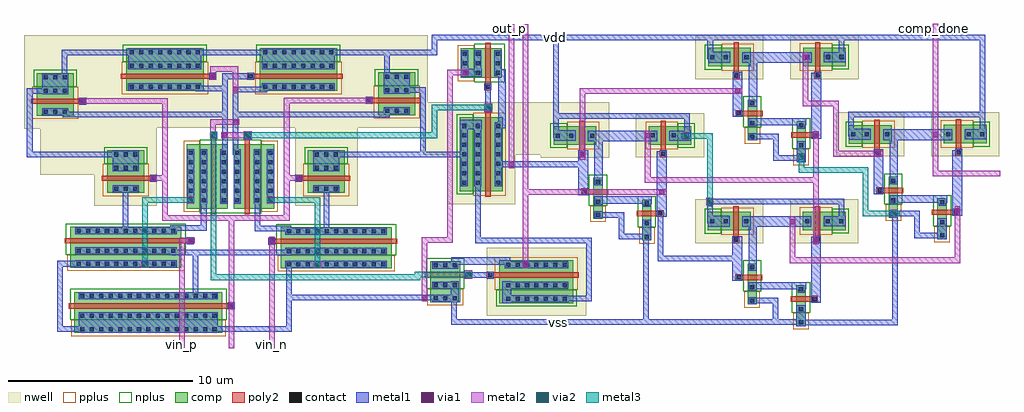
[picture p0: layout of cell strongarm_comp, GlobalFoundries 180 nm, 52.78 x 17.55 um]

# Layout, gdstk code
from math import pi, radians
import gdstk
lib = gdstk.Library(unit=1e-6, precision=5e-09)
def R(c, l, rs):  # rectangles x0, y0, x1, y1
    for r in rs: c.add(gdstk.rectangle(r[:2], r[2:], *l))
def A(c, l, x, y, w, h, nx, ny, dx, dy):  # array of equal rectangles
    R(c, l, [(x+i*dx, y+j*dy, x+i*dx+w, y+j*dy+h) for i in range(nx) for j in range(ny)])
def P(c, l, *ps):  # polygons
    for p in ps: c.add(gdstk.Polygon(p, *l))
nwell = (21, 0)
comp = (22, 0)
poly2 = (30, 0)
pplus = (31, 0)
nplus = (32, 0)
contact = (33, 0)
metal1 = (34, 0)
via1 = (35, 0)
metal2 = (36, 0)
via2 = (38, 0)
metal3 = (42, 0)

comp_pfet_1_1 = lib.new_cell('comp_pfet$1$1')
R(comp_pfet_1_1, nwell, [(-1.15,-0.69,2.54,1.69)])
R(comp_pfet_1_1, comp, [(-0.46,0,0,1), (0,0,0.66,1), (0.66,0,1.12,1), (1.12,0,1.85,1)])
R(comp_pfet_1_1, poly2, [(0.14,-0.68,0.52,-0.3), (0.19,-0.3,0.47,1.3)])
R(comp_pfet_1_1, pplus, [(-0.63,-0.24,1.12,1.24)])
R(comp_pfet_1_1, nplus, [(1.12,-0.17,2.02,1.17)])
R(comp_pfet_1_1, contact, [(0.22,-0.6,0.44,-0.38), (-0.34,0.39,-0.12,0.61), (0.78,0.39,1,0.61), (1.51,0.39,1.73,0.61)])
R(comp_pfet_1_1, metal1, [(0.14,-0.68,0.52,-0.3), (-0.42,0.31,-0.04,0.69), (0.7,0.31,1.08,0.69), (1.43,0.31,1.81,0.69)])

comp_nfet_3 = lib.new_cell('comp_nfet$3')
R(comp_nfet_3, comp, [(-0.42,0,0,0.5), (0,0,0.66,0.5), (0.66,0,1.08,0.5), (1.08,0,1.79,0.5)])
R(comp_nfet_3, poly2, [(0.19,-0.3,0.47,0.8), (0.15,0.8,0.51,1.16)])
R(comp_nfet_3, pplus, [(1.08,-0.17,1.96,0.67)])
R(comp_nfet_3, nplus, [(-0.59,-0.24,1.08,0.74)])
R(comp_nfet_3, contact, [(-0.32,0.14,-0.1,0.36), (0.76,0.14,0.98,0.36), (1.47,0.14,1.69,0.36), (0.22,0.87,0.44,1.09)])
R(comp_nfet_3, metal1, [(-0.4,0.06,-0.02,0.44), (0.68,0.06,1.06,0.44), (1.39,0.06,1.77,0.44), (0.14,0.79,0.52,1.17)])

comp_nfet_8 = lib.new_cell('comp_nfet$8')
R(comp_nfet_8, comp, [(-0.42,0,0,0.5), (0,0,0.66,0.5), (0.66,0,1.08,0.5), (1.08,0,1.79,0.5)])
R(comp_nfet_8, poly2, [(0.15,-0.66,0.51,-0.3), (0.19,-0.3,0.47,0.8)])
R(comp_nfet_8, pplus, [(1.08,-0.17,1.96,0.67)])
R(comp_nfet_8, nplus, [(-0.59,-0.24,1.08,0.74)])
R(comp_nfet_8, contact, [(0.22,-0.59,0.44,-0.37), (-0.32,0.14,-0.1,0.36), (0.76,0.14,0.98,0.36), (1.47,0.14,1.69,0.36)])
R(comp_nfet_8, metal1, [(0.14,-0.67,0.52,-0.29), (-0.4,0.06,-0.02,0.44), (0.68,0.06,1.06,0.44), (1.39,0.06,1.77,0.44)])

comp_pfet_5 = lib.new_cell('comp_pfet$5')
R(comp_pfet_5, nwell, [(-1.15,-0.69,2.54,1.69)])
R(comp_pfet_5, comp, [(-0.46,0,0,1), (0,0,0.66,1), (0.66,0,1.12,1), (1.12,0,1.85,1)])
R(comp_pfet_5, poly2, [(0.19,-0.3,0.47,1.3), (0.14,1.3,0.52,1.68)])
R(comp_pfet_5, pplus, [(-0.63,-0.24,1.12,1.24)])
R(comp_pfet_5, nplus, [(1.12,-0.17,2.02,1.17)])
R(comp_pfet_5, contact, [(-0.34,0.39,-0.12,0.61), (0.78,0.39,1,0.61), (1.51,0.39,1.73,0.61), (0.22,1.38,0.44,1.6)])
R(comp_pfet_5, metal1, [(-0.42,0.31,-0.04,0.69), (0.7,0.31,1.08,0.69), (1.43,0.31,1.81,0.69), (0.14,1.3,0.52,1.68)])

comp_async_nand2 = lib.new_cell('comp_async_nand2')
R(comp_async_nand2, metal1, [(1.32,-3.47,1.82,-2.34), (2.11,-2.2,2.65,1.35), (-1.26,-1.49,1.84,-1.09), (-2.14,-1.03,-1.61,1.4), (-1.26,-0.49,-0.82,2.39), (-1.62,1.89,2.13,2.47), (-3.47,1.91,-2.28,2.5), (2.79,1.92,3.98,2.47)])
comp_async_nand2.add(gdstk.FlexPath([(-3.35,2.09),(-3.35,3.26),(3.75,3.26),(3.75,2.1),(3.75,2.1)], 0.3, ends="flush", simple_path=True, layer=34, datatype=0))  # metal1
comp_async_nand2.add(gdstk.FlexPath([(-1.18,-2.09),(0.2,-2.09),(0.2,-3.26),(1.68,-3.26),(1.68,-3.26)], 0.3, ends="flush", simple_path=True, layer=34, datatype=0))  # metal1
comp_async_nand2.add(gdstk.Reference(comp_pfet_1_1, (2.13,1.71)))
comp_async_nand2.add(gdstk.Reference(comp_nfet_3, (1.32,-1.68), rotation=3*pi/2))
comp_async_nand2.add(gdstk.Reference(comp_nfet_8, (-1.32,-0.51), rotation=3*pi/2))
comp_async_nand2.add(gdstk.Reference(comp_pfet_5, (-1.62,2.7), rotation=pi))
comp_async_nand2.add(gdstk.Label('input_A', (-1.97,0.32), layer=34, texttype=10))
comp_async_nand2.add(gdstk.Label('input_B', (2.29,-0.01), layer=34, texttype=10))
comp_async_nand2.add(gdstk.Label('output', (0.09,2.13), layer=34, texttype=10))
comp_async_nand2.add(gdstk.Label('vdd', (0.02,3.26), layer=34, texttype=10))
comp_async_nand2.add(gdstk.Label('vss', (0.17,-2.92), layer=34, texttype=10))

comp_comp_nand_3v3 = lib.new_cell('comp_comp_nand_3v3')
comp_comp_nand_3v3.add(gdstk.Reference(comp_async_nand2, (0,0)))
comp_comp_nand_3v3.add(gdstk.Label('a', (-1.89,0.02), layer=34, texttype=10))
comp_comp_nand_3v3.add(gdstk.Label('b', (2.38,-0.425), layer=34, texttype=10))
comp_comp_nand_3v3.add(gdstk.Label('vss', (0.2,-2.35), layer=34, texttype=10))
comp_comp_nand_3v3.add(gdstk.Label('y', (0.68,2.21), layer=34, texttype=10))
comp_comp_nand_3v3.add(gdstk.Label('vdd', (0.51,3.26), layer=34, texttype=10))

comp_comp_xor_fast = lib.new_cell('comp_comp_xor_fast')
R(comp_comp_xor_fast, via1, [(0.92,0.03,1.18,0.29), (-0.36,1.03,-0.1,1.29), (5.16,1.47,5.42,1.73), (8.57,1.63,8.83,1.89), (-4.81,2.12,-4.55,2.38), (-7.43,2.64,-7.17,2.9), (0.14,4.54,0.4,4.8), (-11.71,4.66,-11.45,4.92), (4.3,4.71,4.56,4.97), (-6.11,5.67,-5.85,5.93), (-8.18,5.7,-7.92,5.96), (0.92,5.7,1.18,5.96), (7.38,5.73,7.64,5.99), (-3.31,8.11,-3.05,8.37), (0.37,9.91,0.63,10.17)])
R(comp_comp_xor_fast, metal2, [(5.08,1.41,5.47,1.8), (-4.89,2.06,-4.5,2.45), (0.06,4.48,0.45,4.87), (-6.19,5.61,-5.8,6)])
R(comp_comp_xor_fast, via2, [(5.16,1.47,5.42,1.73), (-4.81,2.12,-4.55,2.38), (0.14,4.54,0.4,4.8), (-6.11,5.67,-5.85,5.93)])
comp_comp_xor_fast.add(gdstk.FlexPath([(-7.37,1.79),(-7.37,-0.825),(-2.94,-0.825)], 0.3, ends="flush", simple_path=True, layer=34, datatype=0))  # metal1
comp_comp_xor_fast.add(gdstk.FlexPath([(-11.28,4.27),(-14.8,4.27)], 0.3, ends="flush", simple_path=True, layer=34, datatype=0))  # metal1
comp_comp_xor_fast.add(gdstk.FlexPath([(-13.02,6.71),(-13.02,11.12),(-4.4,11.12)], 0.3, ends="flush", simple_path=True, layer=34, datatype=0))  # metal1
comp_comp_xor_fast.add(gdstk.FlexPath([(10.05,6.95),(10.05,11.12),(2.28,11.12)], 0.3, ends="flush", simple_path=True, layer=34, datatype=0))  # metal1
comp_comp_xor_fast.add(gdstk.FlexPath([(-0.01,-4.28),(5.31,-4.28),(5.31,1.75)], 0.3, ends="flush", simple_path=True, layer=34, datatype=0))  # metal1
comp_comp_xor_fast.add(gdstk.FlexPath([(-0.95,-4.27),(-8.15,-4.27),(-8.15,0.51)], 0.3, ends="flush", simple_path=True, layer=34, datatype=0))  # metal1
comp_comp_xor_fast.add(gdstk.FlexPath([(-11.58,4.52),(-11.58,8.24),(-2.93,8.24),(-2.93,8.24),(-2.93,8.24)], 0.3, ends="flush", simple_path=True, layer=36, datatype=0))  # metal2
comp_comp_xor_fast.add(gdstk.FlexPath([(1.05,3.57),(1.05,-0.06)], 0.3, ends="flush", simple_path=True, layer=36, datatype=0))  # metal2
comp_comp_xor_fast.add(gdstk.FlexPath([(0.49,10.33),(0.49,7.56),(2.13,7.56),(2.13,4.84),(4.69,4.84)], 0.3, ends="flush", simple_path=True, layer=36, datatype=0))  # metal2
comp_comp_xor_fast.add(gdstk.FlexPath([(-0.23,1.46),(-0.23,-0.92),(8.7,-0.92),(8.7,2)], 0.3, ends="flush", simple_path=True, layer=36, datatype=0))  # metal2
comp_comp_xor_fast.add(gdstk.FlexPath([(-8.05,6.09),(-8.05,3.42),(1.05,3.42),(1.05,6.05)], 0.3, ends="flush", simple_path=True, layer=36, datatype=0))  # metal2
comp_comp_xor_fast.add(gdstk.FlexPath([(-7.02,2.78),(-14.81,2.78)], 0.3, ends="flush", simple_path=True, layer=36, datatype=0))  # metal2
comp_comp_xor_fast.add(gdstk.FlexPath([(7.51,6.16),(7.51,3.78),(11,3.78)], 0.3, ends="flush", simple_path=True, layer=36, datatype=0))  # metal2
comp_comp_xor_fast.add(gdstk.FlexPath([(-6.25,5.8),(-4.68,5.8),(-4.68,2.01)], 0.3, ends="flush", simple_path=True, layer=42, datatype=0))  # metal3
comp_comp_xor_fast.add(gdstk.FlexPath([(5.57,1.6),(3.73,1.6),(3.73,3.96),(0.27,3.96),(0.27,4.83),(0.27,4.87)], 0.3, ends="flush", simple_path=True, layer=42, datatype=0))  # metal3
comp_comp_xor_fast.add(gdstk.Reference(comp_comp_nand_3v3, (6.3,3.69)))
comp_comp_xor_fast.add(gdstk.Reference(comp_comp_nand_3v3, (-1.33,-1.01)))
comp_comp_xor_fast.add(gdstk.Reference(comp_comp_nand_3v3, (-9.67,3.62)))
comp_comp_xor_fast.add(gdstk.Reference(comp_comp_nand_3v3, (-1.32,7.86)))
comp_comp_xor_fast.add(gdstk.Label('vdd', (-0.45,11.12), layer=34, texttype=10))
comp_comp_xor_fast.add(gdstk.Label('a', (-14.61,4.23), layer=34, texttype=10))
comp_comp_xor_fast.add(gdstk.Label('vss', (-1.13,-4.27), layer=34, texttype=10))
comp_comp_xor_fast.add(gdstk.Label('b', (-14.61,2.72), layer=36, texttype=10))
comp_comp_xor_fast.add(gdstk.Label('y', (10.72,3.74), layer=36, texttype=10))

comp_nfet = lib.new_cell('comp_nfet')
R(comp_nfet, comp, [(-0.42,0,0,3.5), (0,0,0.66,3.5), (0.66,0,1.08,3.5), (1.08,0,1.79,3.5)])
R(comp_nfet, poly2, [(0.19,-0.3,0.47,3.8), (0.15,3.8,0.51,4.16)])
R(comp_nfet, pplus, [(1.08,-0.17,1.96,3.67)])
R(comp_nfet, nplus, [(-0.59,-0.24,1.08,3.74)])
A(comp_nfet, contact, -0.32, 0.365, 0.22, 0.22, 1, 6, 0, 0.51)
A(comp_nfet, contact, 0.76, 0.365, 0.22, 0.22, 1, 6, 0, 0.51)
A(comp_nfet, contact, 1.47, 0.365, 0.22, 0.22, 1, 6, 0, 0.51)
R(comp_nfet, contact, [(0.22,3.87,0.44,4.09)])
R(comp_nfet, metal1, [(-0.4,0.285,-0.02,3.215), (0.68,0.285,1.06,3.215), (1.39,0.285,1.77,3.215), (0.14,3.79,0.52,4.17)])

comp_nfet_2 = lib.new_cell('comp_nfet$2')
R(comp_nfet_2, comp, [(-0.42,0,0,3.5), (0,0,0.66,3.5), (0.66,0,1.08,3.5), (1.08,0,1.79,3.5)])
R(comp_nfet_2, poly2, [(0.15,-0.66,0.51,-0.3), (0.19,-0.3,0.47,3.8)])
R(comp_nfet_2, pplus, [(1.08,-0.17,1.96,3.67)])
R(comp_nfet_2, nplus, [(-0.59,-0.24,1.08,3.74)])
A(comp_nfet_2, contact, -0.32, 0.365, 0.22, 0.22, 1, 6, 0, 0.51)
A(comp_nfet_2, contact, 0.76, 0.365, 0.22, 0.22, 1, 6, 0, 0.51)
A(comp_nfet_2, contact, 1.47, 0.365, 0.22, 0.22, 1, 6, 0, 0.51)
R(comp_nfet_2, contact, [(0.22,-0.59,0.44,-0.37)])
R(comp_nfet_2, metal1, [(0.14,-0.67,0.52,-0.29), (-0.4,0.285,-0.02,3.215), (0.68,0.285,1.06,3.215), (1.39,0.285,1.77,3.215)])

comp_nfet_4 = lib.new_cell('comp_nfet$4')
R(comp_nfet_4, comp, [(-0.42,0,0,6), (0,0,0.66,6), (0.66,0,1.08,6), (1.08,0,1.79,6)])
R(comp_nfet_4, poly2, [(0.19,-0.3,0.47,6.3), (0.15,6.3,0.51,6.66)])
R(comp_nfet_4, pplus, [(1.08,-0.17,1.96,6.17)])
R(comp_nfet_4, nplus, [(-0.59,-0.24,1.08,6.24)])
A(comp_nfet_4, contact, -0.32, 0.34, 0.22, 0.22, 1, 11, 0, 0.51)
A(comp_nfet_4, contact, 0.76, 0.34, 0.22, 0.22, 1, 11, 0, 0.51)
A(comp_nfet_4, contact, 1.47, 0.34, 0.22, 0.22, 1, 11, 0, 0.51)
R(comp_nfet_4, contact, [(0.22,6.37,0.44,6.59)])
R(comp_nfet_4, metal1, [(-0.4,0.26,-0.02,5.74), (0.68,0.26,1.06,5.74), (1.39,0.26,1.77,5.74), (0.14,6.29,0.52,6.67)])

comp_nfet_6 = lib.new_cell('comp_nfet$6')
R(comp_nfet_6, comp, [(-0.42,0,0,8), (0,0,0.66,8), (0.66,0,1.08,8), (1.08,0,1.79,8)])
R(comp_nfet_6, poly2, [(0.19,-0.3,0.47,8.3), (0.15,8.3,0.51,8.66)])
R(comp_nfet_6, pplus, [(1.08,-0.17,1.96,8.17)])
R(comp_nfet_6, nplus, [(-0.59,-0.24,1.08,8.24)])
A(comp_nfet_6, contact, -0.32, 0.32, 0.22, 0.22, 1, 15, 0, 0.51)
A(comp_nfet_6, contact, 0.76, 0.32, 0.22, 0.22, 1, 15, 0, 0.51)
A(comp_nfet_6, contact, 1.47, 0.32, 0.22, 0.22, 1, 15, 0, 0.51)
R(comp_nfet_6, contact, [(0.22,8.37,0.44,8.59)])
R(comp_nfet_6, metal1, [(-0.4,0.24,-0.02,7.76), (0.68,0.24,1.06,7.76), (1.39,0.24,1.77,7.76), (0.14,8.29,0.52,8.67)])

comp_nfet_5 = lib.new_cell('comp_nfet$5')
R(comp_nfet_5, comp, [(-0.42,0,0,6), (0,0,0.66,6), (0.66,0,1.08,6), (1.08,0,1.79,6)])
R(comp_nfet_5, poly2, [(0.15,-0.66,0.51,-0.3), (0.19,-0.3,0.47,6.3)])
R(comp_nfet_5, pplus, [(1.08,-0.17,1.96,6.17)])
R(comp_nfet_5, nplus, [(-0.59,-0.24,1.08,6.24)])
A(comp_nfet_5, contact, -0.32, 0.34, 0.22, 0.22, 1, 11, 0, 0.51)
A(comp_nfet_5, contact, 0.76, 0.34, 0.22, 0.22, 1, 11, 0, 0.51)
A(comp_nfet_5, contact, 1.47, 0.34, 0.22, 0.22, 1, 11, 0, 0.51)
R(comp_nfet_5, contact, [(0.22,-0.59,0.44,-0.37)])
R(comp_nfet_5, metal1, [(0.14,-0.67,0.52,-0.29), (-0.4,0.26,-0.02,5.74), (0.68,0.26,1.06,5.74), (1.39,0.26,1.77,5.74)])

comp_pfet_3 = lib.new_cell('comp_pfet$3')
R(comp_pfet_3, nwell, [(-1.15,-0.69,2.54,4.89)])
R(comp_pfet_3, comp, [(-0.46,0,0,4.2), (0,0,0.66,4.2), (0.66,0,1.12,4.2), (1.12,0,1.85,4.2)])
R(comp_pfet_3, poly2, [(0.14,-0.68,0.52,-0.3), (0.19,-0.3,0.47,4.5)])
R(comp_pfet_3, pplus, [(-0.63,-0.24,1.12,4.44)])
R(comp_pfet_3, nplus, [(1.12,-0.17,2.02,4.37)])
A(comp_pfet_3, contact, -0.34, 0.205, 0.22, 0.22, 1, 8, 0, 0.51)
A(comp_pfet_3, contact, 0.78, 0.205, 0.22, 0.22, 1, 8, 0, 0.51)
A(comp_pfet_3, contact, 1.51, 0.205, 0.22, 0.22, 1, 8, 0, 0.51)
R(comp_pfet_3, contact, [(0.22,-0.6,0.44,-0.38)])
R(comp_pfet_3, metal1, [(0.14,-0.68,0.52,-0.3), (-0.42,0.125,-0.04,4.075), (0.7,0.125,1.08,4.075), (1.43,0.125,1.81,4.075)])

comp_pfet_1 = lib.new_cell('comp_pfet$1')
R(comp_pfet_1, nwell, [(-1.15,-0.69,2.54,4.89)])
R(comp_pfet_1, comp, [(-0.46,0,0,4.2), (0,0,0.66,4.2), (0.66,0,1.12,4.2), (1.12,0,1.85,4.2)])
R(comp_pfet_1, poly2, [(0.19,-0.3,0.47,4.5), (0.14,4.5,0.52,4.88)])
R(comp_pfet_1, pplus, [(-0.63,-0.24,1.12,4.44)])
R(comp_pfet_1, nplus, [(1.12,-0.17,2.02,4.37)])
A(comp_pfet_1, contact, -0.34, 0.205, 0.22, 0.22, 1, 8, 0, 0.51)
A(comp_pfet_1, contact, 0.78, 0.205, 0.22, 0.22, 1, 8, 0, 0.51)
A(comp_pfet_1, contact, 1.51, 0.205, 0.22, 0.22, 1, 8, 0, 0.51)
R(comp_pfet_1, contact, [(0.22,4.58,0.44,4.8)])
R(comp_pfet_1, metal1, [(-0.42,0.125,-0.04,4.075), (0.7,0.125,1.08,4.075), (1.43,0.125,1.81,4.075), (0.14,4.5,0.52,4.88)])

comp_pfet_2 = lib.new_cell('comp_pfet$2')
R(comp_pfet_2, nwell, [(-1.15,-0.69,2.54,2.69)])
R(comp_pfet_2, comp, [(-0.46,0,0,2), (0,0,0.66,2), (0.66,0,1.12,2), (1.12,0,1.85,2)])
R(comp_pfet_2, poly2, [(0.19,-0.3,0.47,2.3), (0.14,2.3,0.52,2.68)])
R(comp_pfet_2, pplus, [(-0.63,-0.24,1.12,2.24)])
R(comp_pfet_2, nplus, [(1.12,-0.17,2.02,2.17)])
A(comp_pfet_2, contact, -0.34, 0.38, 0.22, 0.22, 1, 3, 0, 0.51)
A(comp_pfet_2, contact, 0.78, 0.38, 0.22, 0.22, 1, 3, 0, 0.51)
A(comp_pfet_2, contact, 1.51, 0.38, 0.22, 0.22, 1, 3, 0, 0.51)
R(comp_pfet_2, contact, [(0.22,2.38,0.44,2.6)])
R(comp_pfet_2, metal1, [(-0.42,0.3,-0.04,1.7), (0.7,0.3,1.08,1.7), (1.43,0.3,1.81,1.7), (0.14,2.3,0.52,2.68)])

comp_pfet = lib.new_cell('comp_pfet')
R(comp_pfet, nwell, [(-1.15,-0.69,2.54,2.69)])
R(comp_pfet, comp, [(-0.46,0,0,2), (0,0,0.66,2), (0.66,0,1.12,2), (1.12,0,1.85,2)])
R(comp_pfet, poly2, [(0.14,-0.68,0.52,-0.3), (0.19,-0.3,0.47,2.3)])
R(comp_pfet, pplus, [(-0.63,-0.24,1.12,2.24)])
R(comp_pfet, nplus, [(1.12,-0.17,2.02,2.17)])
A(comp_pfet, contact, -0.34, 0.38, 0.22, 0.22, 1, 3, 0, 0.51)
A(comp_pfet, contact, 0.78, 0.38, 0.22, 0.22, 1, 3, 0, 0.51)
A(comp_pfet, contact, 1.51, 0.38, 0.22, 0.22, 1, 3, 0, 0.51)
R(comp_pfet, contact, [(0.22,-0.6,0.44,-0.38)])
R(comp_pfet, metal1, [(0.14,-0.68,0.52,-0.3), (-0.42,0.3,-0.04,1.7), (0.7,0.3,1.08,1.7), (1.43,0.3,1.81,1.7)])

comp_strongarm_comp_core = lib.new_cell('comp_strongarm_comp_core')
R(comp_strongarm_comp_core, nwell, [(-7.38,0.48,-4,4.93), (3.47,0.48,6.85,4.98), (-11.19,4.69,10.65,9.7)])
R(comp_strongarm_comp_core, metal1, [(-8.22,-6.38,-0.7,-5.29), (-6.39,2.33,-4.99,3.44), (4.46,2.33,5.86,3.44), (-10.2,6.5,-8.8,7.61), (8.26,6.54,9.66,7.65), (-5.545,7.85,-1.595,8.96), (1.675,7.85,5.625,8.96)])
P(comp_strongarm_comp_core, metal1, [(4.69,6.17),(4.69,6.17),(4.69,6.17),(4.69,6.17)])
R(comp_strongarm_comp_core, via1, [(-0.11,-5.07,0.15,-4.81), (4.54,-2.82,4.8,-2.56), (-4.79,-2.79,-4.53,-2.53), (-2.32,0.66,-2.06,0.92), (2.01,0.66,2.27,0.92), (-4.32,1.84,-4.06,2.1), (3.54,1.84,3.8,2.1), (-1.09,4.16,-0.83,4.42), (-0.45,4.16,-0.19,4.42), (0.76,4.16,1.02,4.42), (0.12,4.87,0.38,5.13), (-8.15,6,-7.89,6.26), (7.34,6.04,7.6,6.3), (0.12,6.64,0.38,6.9), (-1.1,7.35,-0.84,7.61)])
R(comp_strongarm_comp_core, metal2, [(4.47,-2.9,4.88,-2.5), (-4.85,-2.87,-4.46,-2.46), (-2.38,0.59,-1.99,0.99), (1.95,0.59,2.36,1)])
R(comp_strongarm_comp_core, via2, [(4.54,-2.82,4.8,-2.56), (-4.79,-2.79,-4.53,-2.53), (-2.32,0.66,-2.06,0.92), (2.01,0.66,2.27,0.92)])
comp_strongarm_comp_core.add(gdstk.FlexPath([(-8.15,-2.66),(-9.24,-2.66),(-9.24,-6.19),(-7.92,-6.19)], 0.3, ends="flush", simple_path=True, layer=34, datatype=0))  # metal1
comp_strongarm_comp_core.add(gdstk.FlexPath([(3.14,-2.58),(3.14,-6.19),(-1,-6.19)], 0.3, ends="flush", simple_path=True, layer=34, datatype=0))  # metal1
comp_strongarm_comp_core.add(gdstk.FlexPath([(-3.27,-2.05),(3.25,-2.05)], 0.3, ends="flush", simple_path=True, layer=34, datatype=0))  # metal1
comp_strongarm_comp_core.add(gdstk.FlexPath([(-1.92,-1.9),(-1.92,-4.59)], 0.3, ends="flush", simple_path=True, layer=34, datatype=0))  # metal1
comp_strongarm_comp_core.add(gdstk.FlexPath([(-3.27,-0.72),(-1.47,-0.72),(-1.47,0.895)], 0.3, ends="flush", simple_path=True, layer=34, datatype=0))  # metal1
comp_strongarm_comp_core.add(gdstk.FlexPath([(3.25,-0.75),(1.43,-0.75),(1.43,0.895)], 0.3, ends="flush", simple_path=True, layer=34, datatype=0))  # metal1
comp_strongarm_comp_core.add(gdstk.FlexPath([(-1.895,6.81),(-0.32,6.81),(-0.32,3.225)], 0.3, ends="flush", simple_path=True, layer=34, datatype=0))  # metal1
comp_strongarm_comp_core.add(gdstk.FlexPath([(0.25,3.225),(0.25,6.77),(1.975,6.77)], 0.3, ends="flush", simple_path=True, layer=34, datatype=0))  # metal1
comp_strongarm_comp_core.add(gdstk.FlexPath([(-0.32,6.66),(-0.32,7.48),(1.25,7.48)], 0.3, ends="flush", simple_path=True, layer=34, datatype=0))  # metal1
comp_strongarm_comp_core.add(gdstk.FlexPath([(5.16,1.59),(5.16,-0.9)], 0.3, ends="flush", simple_path=True, layer=34, datatype=0))  # metal1
comp_strongarm_comp_core.add(gdstk.FlexPath([(-5.69,1.59),(-5.69,-0.87)], 0.3, ends="flush", simple_path=True, layer=34, datatype=0))  # metal1
comp_strongarm_comp_core.add(gdstk.FlexPath([(0.1,5.42),(8.58,5.42)], 0.3, ends="flush", simple_path=True, layer=34, datatype=0))  # metal1
comp_strongarm_comp_core.add(gdstk.FlexPath([(-0.17,5.42),(-9.1,5.42)], 0.3, ends="flush", simple_path=True, layer=34, datatype=0))  # metal1
comp_strongarm_comp_core.add(gdstk.FlexPath([(8.45,7.35),(8.45,8.77),(5.325,8.77)], 0.3, ends="flush", simple_path=True, layer=34, datatype=0))  # metal1
comp_strongarm_comp_core.add(gdstk.FlexPath([(-1.895,8.77),(1.975,8.77)], 0.3, ends="flush", simple_path=True, layer=34, datatype=0))  # metal1
comp_strongarm_comp_core.add(gdstk.FlexPath([(-8.99,7.31),(-8.99,8.77),(-5.17,8.77)], 0.3, ends="flush", simple_path=True, layer=34, datatype=0))  # metal1
comp_strongarm_comp_core.add(gdstk.FlexPath([(-9.9,6.69),(-10.88,6.69),(-10.88,3.25),(-6.09,3.25)], 0.3, ends="flush", simple_path=True, layer=34, datatype=0))  # metal1
comp_strongarm_comp_core.add(gdstk.FlexPath([(9.36,6.73),(10.39,6.73),(10.39,3.25),(5.56,3.25)], 0.3, ends="flush", simple_path=True, layer=34, datatype=0))  # metal1
comp_strongarm_comp_core.add(gdstk.FlexPath([(-0.51,4.29),(1.08,4.29)], 0.3, ends="flush", simple_path=True, layer=36, datatype=0))  # metal2
comp_strongarm_comp_core.add(gdstk.FlexPath([(-0.98,7.29),(-0.98,7.88),(0.25,7.88),(0.25,6.55)], 0.3, ends="flush", simple_path=True, layer=36, datatype=0))  # metal2
comp_strongarm_comp_core.add(gdstk.FlexPath([(-0.96,4.1),(-0.96,4.53),(-0.96,5),(0.44,5)], 0.3, ends="flush", simple_path=True, layer=36, datatype=0))  # metal2
comp_strongarm_comp_core.add(gdstk.FlexPath([(0.02,-5.13),(0.02,-0.19),(3.02,-0.19),(3.02,1.97),(3.89,1.97)], 0.3, ends="flush", simple_path=True, layer=36, datatype=0))  # metal2
comp_strongarm_comp_core.add(gdstk.FlexPath([(0.18,-0.19),(-3.56,-0.19),(-3.56,1.97),(-4.34,1.97),(-4.39,1.97)], 0.3, ends="flush", simple_path=True, layer=36, datatype=0))  # metal2
comp_strongarm_comp_core.add(gdstk.FlexPath([(3.02,1.82),(3.02,6.17),(7.66,6.17)], 0.3, ends="flush", simple_path=True, layer=36, datatype=0))  # metal2
comp_strongarm_comp_core.add(gdstk.FlexPath([(-3.56,1.83),(-3.56,6.13),(-8.23,6.13)], 0.3, ends="flush", simple_path=True, layer=36, datatype=0))  # metal2
comp_strongarm_comp_core.add(gdstk.FlexPath([(4.675,-2.88),(4.675,0.79),(1.95,0.79)], 0.3, ends="flush", simple_path=True, layer=42, datatype=0))  # metal3
comp_strongarm_comp_core.add(gdstk.FlexPath([(-4.655,-2.85),(-4.655,0.79),(-1.99,0.79)], 0.3, ends="flush", simple_path=True, layer=42, datatype=0))  # metal3
comp_strongarm_comp_core.add(gdstk.Reference(comp_nfet, (0.56,0.31)))
comp_strongarm_comp_core.add(gdstk.Reference(comp_nfet_2, (-0.6,3.81), rotation=pi))
comp_strongarm_comp_core.add(gdstk.Reference(comp_nfet_4, (-8.68,-1.08), rotation=3*pi/2))
comp_strongarm_comp_core.add(gdstk.Reference(comp_nfet_6, (-8.46,-4.61), rotation=3*pi/2))
comp_strongarm_comp_core.add(gdstk.Reference(comp_nfet_5, (2.69,-1.11), rotation=3*pi/2))
comp_strongarm_comp_core.add(gdstk.Reference(comp_pfet_3, (-1.47,7.15), rotation=pi/2))
comp_strongarm_comp_core.add(gdstk.Reference(comp_pfet_1, (5.75,7.15), rotation=pi/2))
comp_strongarm_comp_core.add(gdstk.Reference(comp_pfet_2, (6.16,1.63), rotation=pi/2))
comp_strongarm_comp_core.add(gdstk.Reference(comp_pfet_2, (9.96,5.84), rotation=pi/2))
comp_strongarm_comp_core.add(gdstk.Reference(comp_pfet, (-4.69,1.63), rotation=pi/2))
comp_strongarm_comp_core.add(gdstk.Reference(comp_pfet, (-8.5,5.8), rotation=pi/2))
comp_strongarm_comp_core.add(gdstk.Label('vss', (1.7,-6.19), layer=34, texttype=10))
comp_strongarm_comp_core.add(gdstk.Label('out_n', (0.74,6.77), layer=34, texttype=10))
comp_strongarm_comp_core.add(gdstk.Label('out_p', (-0.77,6.81), layer=34, texttype=10))
comp_strongarm_comp_core.add(gdstk.Label('vdd', (-0.05,8.77), layer=34, texttype=10))
comp_strongarm_comp_core.add(gdstk.Label('vin_p', (-2.26,-1.42), layer=34, texttype=10))
comp_strongarm_comp_core.add(gdstk.Label('vin_n', (2.18,-1.45), layer=34, texttype=10))
comp_strongarm_comp_core.add(gdstk.Label('rst_latch', (0,-0.19), layer=36, texttype=10))

comp_pfet_4 = lib.new_cell('comp_pfet$4')
R(comp_pfet_4, nwell, [(-1.15,-0.69,2.54,4.69)])
R(comp_pfet_4, comp, [(-0.46,0,0,4), (0,0,0.66,4), (0.66,0,1.12,4), (1.12,0,1.85,4)])
R(comp_pfet_4, poly2, [(0.14,-0.68,0.52,-0.3), (0.19,-0.3,0.47,4.3)])
R(comp_pfet_4, pplus, [(-0.63,-0.24,1.12,4.24)])
R(comp_pfet_4, nplus, [(1.12,-0.17,2.02,4.17)])
A(comp_pfet_4, contact, -0.34, 0.36, 0.22, 0.22, 1, 7, 0, 0.51)
A(comp_pfet_4, contact, 0.78, 0.36, 0.22, 0.22, 1, 7, 0, 0.51)
A(comp_pfet_4, contact, 1.51, 0.36, 0.22, 0.22, 1, 7, 0, 0.51)
R(comp_pfet_4, contact, [(0.22,-0.6,0.44,-0.38)])
R(comp_pfet_4, metal1, [(0.14,-0.68,0.52,-0.3), (-0.42,0.28,-0.04,3.72), (0.7,0.28,1.08,3.72), (1.43,0.28,1.81,3.72)])

comp_nfet_9 = lib.new_cell('comp_nfet$9')
R(comp_nfet_9, comp, [(-0.42,0,0,1.6), (0,0,0.66,1.6), (0.66,0,1.08,1.6), (1.08,0,1.79,1.6)])
R(comp_nfet_9, poly2, [(0.19,-0.3,0.47,1.9), (0.15,1.9,0.51,2.26)])
R(comp_nfet_9, pplus, [(1.08,-0.17,1.96,1.77)])
R(comp_nfet_9, nplus, [(-0.59,-0.24,1.08,1.84)])
A(comp_nfet_9, contact, -0.32, 0.18, 0.22, 0.22, 1, 3, 0, 0.51)
A(comp_nfet_9, contact, 0.76, 0.18, 0.22, 0.22, 1, 3, 0, 0.51)
A(comp_nfet_9, contact, 1.47, 0.18, 0.22, 0.22, 1, 3, 0, 0.51)
R(comp_nfet_9, contact, [(0.22,1.97,0.44,2.19)])
R(comp_nfet_9, metal1, [(-0.4,0.1,-0.02,1.5), (0.68,0.1,1.06,1.5), (1.39,0.1,1.77,1.5), (0.14,1.89,0.52,2.27)])

comp_comp_inv_3v3 = lib.new_cell('comp_comp_inv_3v3')
R(comp_comp_inv_3v3, metal1, [(0.34,-1.42,1.47,-0.98), (-0.95,-1.39,-0.55,1.8), (0.34,1.35,1.53,1.85)])
comp_comp_inv_3v3.add(gdstk.FlexPath([(0.01,0.83),(0.01,-0.62),(0.01,-0.62)], 0.3, ends="flush", simple_path=True, layer=34, datatype=0))  # metal1
comp_comp_inv_3v3.add(gdstk.Reference(comp_pfet_4, (-0.32,1.21)))
comp_comp_inv_3v3.add(gdstk.Reference(comp_nfet_9, (-0.32,-2.52)))
comp_comp_inv_3v3.add(gdstk.Label('vo', (-0.75,0.01), layer=34, texttype=10))
comp_comp_inv_3v3.add(gdstk.Label('vi', (0.01,0.02), layer=34, texttype=10))
comp_comp_inv_3v3.add(gdstk.Label('vdd', (0.935,1.6), layer=34, texttype=10))
comp_comp_inv_3v3.add(gdstk.Label('vss', (0.905,-1.2), layer=34, texttype=10))

strongarm_comp = lib.new_cell('strongarm_comp')
R(strongarm_comp, nwell, [(-33.34,8.7,-30.41,11.24), (-12.63,9.79,-2.58,12.635)])
R(strongarm_comp, via1, [(-12.69,1.94,-12.43,2.2), (-10.32,3.18,-10.06,3.44), (-7.23,3.74,-6.97,4), (-20.94,4.98,-20.68,5.24), (-25.35,5.01,-25.09,5.27), (-7.985,9.14,-7.725,9.4), (-9.245,12.195,-8.985,12.455), (-10.49,14.11,-10.23,14.37)])
R(strongarm_comp, metal2, [(-10.4,3.07,-9.97,3.53), (-22.34,10.6,-21.91,11.06), (-9.325,12.085,-8.895,12.545)])
R(strongarm_comp, via2, [(-10.32,3.18,-10.06,3.44), (-24.11,10.71,-23.85,10.97), (-22.26,10.71,-22,10.97), (-9.245,12.195,-8.985,12.455)])
strongarm_comp.add(gdstk.FlexPath([(-7.06,9.27),(-8.74,9.27)], 0.3, ends="flush", simple_path=True, layer=34, datatype=0))  # metal1
strongarm_comp.add(gdstk.FlexPath([(-12.78,9.8),(-10.21,9.8)], 0.3, ends="flush", simple_path=True, layer=34, datatype=0))  # metal1
strongarm_comp.add(gdstk.FlexPath([(-14.72,15.32),(-12.03,15.32),(-12.03,16.12),(-5.3,16.12)], 0.3, ends="flush", simple_path=True, layer=34, datatype=0))  # metal1
strongarm_comp.add(gdstk.FlexPath([(-11.87,2.06),(-20.03,2.06)], 0.3, ends="flush", simple_path=True, layer=34, datatype=0))  # metal1
strongarm_comp.add(gdstk.FlexPath([(-10.96,2.17),(-10.96,0.73),(-0.44,0.73)], 0.3, ends="flush", simple_path=True, layer=34, datatype=0))  # metal1
strongarm_comp.add(gdstk.FlexPath([(-9.67,8.4),(-9.67,5.14),(-3.66,5.14),(-3.66,2.02),(-5.19,2.02)], 0.3, ends="flush", simple_path=True, layer=34, datatype=0))  # metal1
strongarm_comp.add(gdstk.FlexPath([(-7.1,7.93),(-7.1,3.68)], 0.3, ends="flush", simple_path=True, layer=36, datatype=0))  # metal2
strongarm_comp.add(gdstk.FlexPath([(15.07,10.58),(15.07,16.87)], 0.3, ends="flush", simple_path=True, layer=36, datatype=0))  # metal2
strongarm_comp.add(gdstk.FlexPath([(-10.17,14.24),(-11.18,14.24),(-11.18,5.18),(-12.56,5.18),(-12.56,1.85)], 0.3, ends="flush", simple_path=True, layer=36, datatype=0))  # metal2
strongarm_comp.add(gdstk.FlexPath([(-7.09,7.78),(-7.09,16.85)], 0.3, ends="flush", simple_path=True, layer=36, datatype=0))  # metal2
strongarm_comp.add(gdstk.FlexPath([(-7.86,9.05),(-7.86,16.85)], 0.3, ends="flush", simple_path=True, layer=36, datatype=0))  # metal2
strongarm_comp.add(gdstk.FlexPath([(-24.99,5.14),(-25.68,5.14),(-25.68,-0.66)], 0.3, ends="flush", simple_path=True, layer=36, datatype=0))  # metal2
strongarm_comp.add(gdstk.FlexPath([(-20.81,5.35),(-20.81,-0.67)], 0.3, ends="flush", simple_path=True, layer=36, datatype=0))  # metal2
strongarm_comp.add(gdstk.FlexPath([(-23,1.8),(-23,-0.68)], 0.3, ends="flush", simple_path=True, layer=36, datatype=0))  # metal2
strongarm_comp.add(gdstk.FlexPath([(-22.34,10.84),(-12.03,10.84),(-12.03,12.33),(-8.895,12.33)], 0.3, ends="flush", simple_path=True, layer=42, datatype=0))  # metal3
strongarm_comp.add(gdstk.FlexPath([(-23.98,11.03),(-23.98,3.16),(-12.94,3.16),(-12.94,3.31),(-9.97,3.31)], 0.3, ends="flush", simple_path=True, layer=42, datatype=0))  # metal3
strongarm_comp.add(gdstk.Reference(comp_comp_xor_fast, (7.56,5)))
strongarm_comp.add(gdstk.Reference(comp_strongarm_comp_core, (-23.03,6.55)))
strongarm_comp.add(gdstk.Reference(comp_comp_inv_3v3, (-9.12,13.02), rotation=pi))
strongarm_comp.add(gdstk.Reference(comp_comp_inv_3v3, (-9.72,3.29), rotation=3*pi/2))
strongarm_comp.add(gdstk.Label('vdd', (-5.49,16.12), layer=34, texttype=10))
strongarm_comp.add(gdstk.Label('vss', (-5.34,0.73), layer=34, texttype=10))
strongarm_comp.add(gdstk.Label('comp_done', (14.97,16.59), layer=36, texttype=10))
strongarm_comp.add(gdstk.Label('out_p', (-7.94,16.59), layer=36, texttype=10))
strongarm_comp.add(gdstk.Label('out_n', (-7.16,16.58), layer=36, texttype=10))
strongarm_comp.add(gdstk.Label('vin_p', (-25.71,-0.47), layer=36, texttype=10))
strongarm_comp.add(gdstk.Label('vin_n', (-20.84,-0.47), layer=36, texttype=10))
strongarm_comp.add(gdstk.Label('rst_latch', (-23.08,-0.45), layer=36, texttype=10))

lib.write_gds('strongarm_comp.gds')
